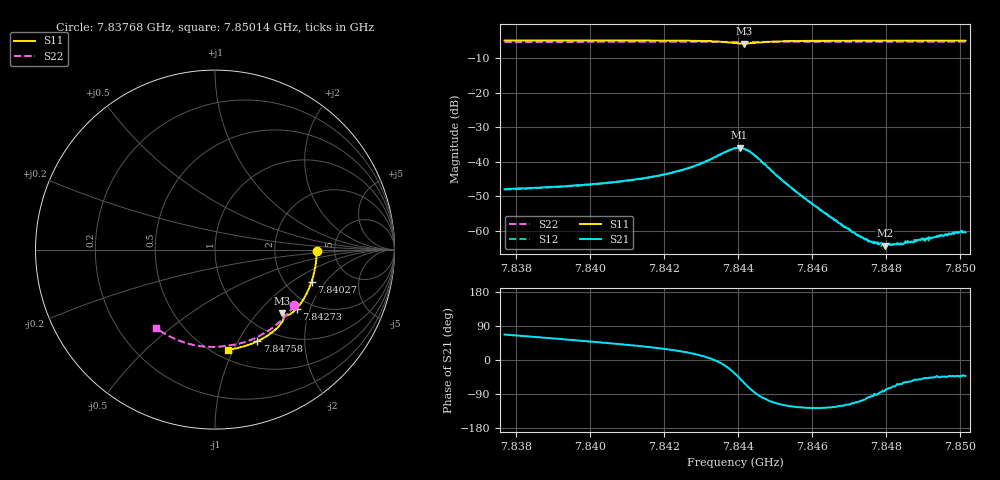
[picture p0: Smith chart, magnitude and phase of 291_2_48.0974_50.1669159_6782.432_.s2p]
#  HZ  S  RI  R  50.00
! Rohde & Schwarz Vector Network Analyzer
! Rohde-Schwarz,ZNB20-2Port,1311601062101988,3.16
! Created: UTC 12/23/2023, 4:03:45 AM
! freq[Hz]  re:S11  im:S11  re:S21  im:S21  re:S12  im:S12  re:S22  im:S22
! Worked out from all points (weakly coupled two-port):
!   401 points, 7.83768 GHz to 7.85014 GHz, reference 50 ohm
!   highest |S21| = -35.97 dB at 7.84403 GHz (marker M1); lowest = -64.3 dB at 7.84796 GHz (marker M2)
!   lowest |S11| = -5.8 dB at 7.84416 GHz (marker M3), VSWR 3.10, Z = 71 - j67.9 ohm
!   |S11| at or under -10 dB: nowhere
!   |S22| runs from -5.4 to -5.3 dB; largest |S21 - S12| = 0.0003
!   S11 on the Smith chart (normalised r, x): 7.83768 GHz: 3.61, -0.10; 7.84027 GHz: 2.76, -1.46; 7.84273 GHz: 1.68, -1.62; 7.84758 GHz: 0.81, -1.21; 7.85014 GHz: 0.58, -0.95
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7.837681e9  0.5664 -0.00943  0.00156 0.0037  0.00156 0.00364  0.4419 -0.3102
7.839768e9  0.5476 -0.147  0.00295 0.00354  0.00288 0.00352  0.3434 -0.4176
7.840266e9  0.5379 -0.1793  0.00334 0.00354  0.00328 0.00349  0.3157 -0.4391
7.841855e9  0.4921 -0.2783  0.00542 0.00325  0.00538 0.00326  0.2193 -0.495
7.842727e9  0.4543 -0.3298  0.00796 0.00256  0.00791 0.00261  0.162 -0.5166
7.843474e9  0.4056 -0.3652  0.0124 -0.00125  0.0124 -0.00119  0.1108 -0.5289
7.84391e9  0.3732 -0.3626  0.0127 -0.00923  0.0127 -0.00906  0.0815 -0.5329
7.844035e9  0.37 -0.3568  0.0107 -0.0118  0.0107 -0.0117  0.0737 -0.5338
7.844159e9  0.3714 -0.3525  0.00751 -0.0133  0.00764 -0.0133  0.066 -0.5348
7.844377e9  0.3794 -0.355  0.00214 -0.0131  0.00238 -0.013  0.0522 -0.5372
7.845156e9  0.3708 -0.4076  -0.00253 -0.00493  -0.00256 -0.00495  -0.00189 -0.5428
7.845997e9  0.3288 -0.4528  -0.00148 -0.00197  -0.00147 -0.002  -0.0614 -0.5402
7.847087e9  0.2663 -0.4952  -0.000382 -0.000884  -0.000421 -0.000875  -0.1369 -0.5269
7.847367e9  0.2493 -0.5043  -0.00022 -0.000781  -0.00022 -0.00077  -0.1558 -0.5218
7.847585e9  0.236 -0.5108  -7.25e-05 -0.000695  -6.08e-05 -0.000712  -0.1705 -0.5173
7.847959e9  0.213 -0.521  9.76e-05 -0.000602  0.00011 -0.000612  -0.1954 -0.5086
7.848083e9  0.2052 -0.5241  0.000182 -0.000609  0.000157 -0.000641  -0.2035 -0.5056
7.848426e9  0.1838 -0.5322  0.000285 -0.000569  0.000337 -0.000575  -0.2256 -0.4963
7.848737e9  0.1637 -0.5384  0.00041 -0.000551  0.000441 -0.000576  -0.2453 -0.487
7.849111e9  0.1398 -0.5453  0.000525 -0.000581  0.000521 -0.000604  -0.2686 -0.4749
7.849858e9  0.0911 -0.5552  0.000689 -0.000648  0.000699 -0.000666  -0.3132 -0.4471
7.850139e9  0.0725 -0.5579  0.000703 -0.000635  0.000738 -0.000656  -0.3292 -0.4359
